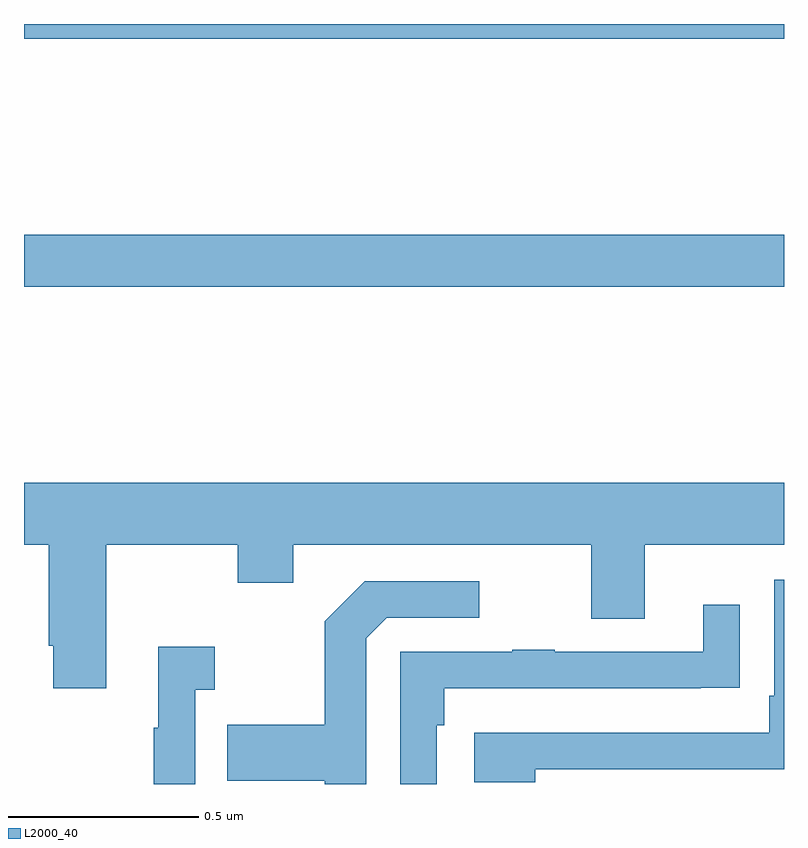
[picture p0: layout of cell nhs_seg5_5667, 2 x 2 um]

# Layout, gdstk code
import gdstk
lib = gdstk.Library(unit=1e-6, precision=1e-09)
def R(c, l, rs):  # rectangles x0, y0, x1, y1
    for r in rs: c.add(gdstk.rectangle(r[:2], r[2:], *l))
def P(c, l, *ps):  # polygons
    for p in ps: c.add(gdstk.Polygon(p, *l))
L2000_40 = (2000, 40)

nhs_seg5_5667 = lib.new_cell('nhs_seg5_5667')
R(nhs_seg5_5667, L2000_40, [(186,856.108,188,856.244), (186,856.76,188,856.799)])
P(nhs_seg5_5667, L2000_40, [(186.217,855.428),(186.562,855.428),(186.562,855.329),(186.709,855.329),(186.709,855.428),(187.493,855.428),(187.493,855.234),(187.633,855.234),(187.633,855.428),(188,855.428),(188,855.592),(186,855.592),(186,855.428),(186.065,855.428),(186.065,855.163),(186.077,855.163),(186.077,855.051),(186.217,855.051)],
  [(187.346,854.838),(188,854.838),(188,855.336),(187.974,855.336),(187.974,855.031),(187.961,855.031),(187.961,854.934),(187.185,854.934),(187.185,854.804),(187.346,854.804)],
  [(186.9,855.183),(186.954,855.237),(187.198,855.237),(187.198,855.333),(186.897,855.333),(186.792,855.227),(186.792,854.955),(186.535,854.955),(186.535,854.807),(186.792,854.807),(186.792,854.799),(186.9,854.799)],
  [(187.086,854.954),(187.106,854.954),(187.106,855.051),(187.781,855.051),(187.781,855.052),(187.883,855.052),(187.883,855.271),(187.787,855.271),(187.787,855.147),(187.397,855.147),(187.397,855.152),(187.285,855.152),(187.285,855.147),(186.99,855.147),(186.99,854.799),(187.086,854.799)],
  [(186.45,855.047),(186.502,855.047),(186.502,855.16),(186.353,855.16),(186.353,854.947),(186.342,854.947),(186.342,854.799),(186.45,854.799)])

lib.write_gds('nhs_seg5_5667.gds')
